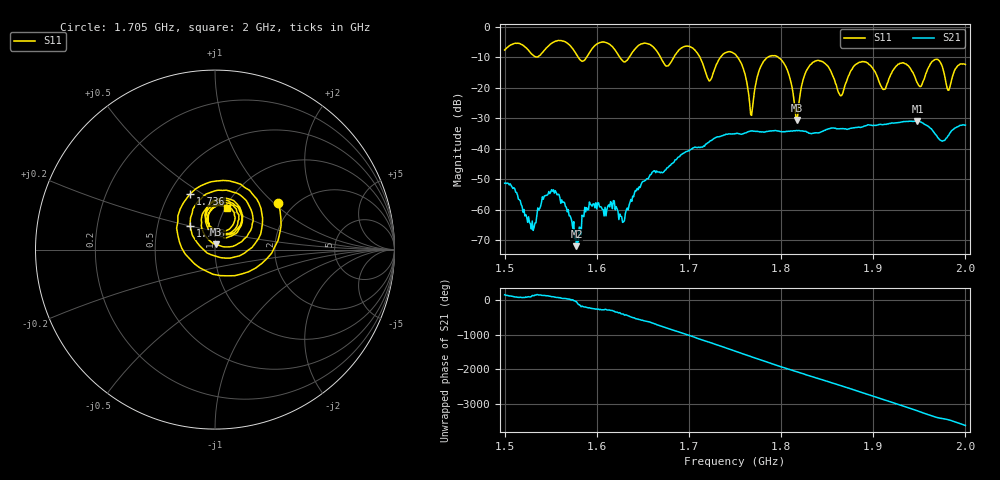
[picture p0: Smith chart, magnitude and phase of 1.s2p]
! NanoVNA-App by SYSJOINT et al v1.1.209 (+OD18)
! Date: 2026-01-21 14:49:19
! Start: 1,5GHz Stop: 2GHz Points: 501
! S-Parameter data: F S11 S21 S12 S22
# Hz S RI R 50
!  Frequency  S11_Real  S11_Imag  S21_Real  S21_Imag  S12_Real  S12_Imag  S22_Real  S22_Imag
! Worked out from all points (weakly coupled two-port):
!   501 points, 1.5 GHz to 2 GHz, reference 50 ohm
!   highest |S21| = -30.90 dB at 1.948 GHz (marker M1); lowest = -71.9 dB at 1.578 GHz (marker M2)
!   lowest |S11| = -30.6 dB at 1.817 GHz (marker M3), VSWR 1.06, Z = 50.5 + j2.93 ohm
!   |S11| at or under -10 dB: 1.712 GHz to 1.734 GHz (22.21 MHz wide, 1.29 % of centre); 1.753 GHz to 1.785 GHz (32.37 MHz wide, 1.83 % of centre); 1.797 GHz to end of sweep (the widest 3 of 6)
!   S12 and S22 are empty: the file has one direction only
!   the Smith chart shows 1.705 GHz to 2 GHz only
!   S11 on the Smith chart (normalised r, x): 1.705 GHz: 1.65, +1.06; 1.736 GHz: 0.64, +0.45; 1.776 GHz: 0.73, +0.20; 2 GHz: 1.02, +0.50
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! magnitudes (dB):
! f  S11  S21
! 1.5 GHz  -7.6  -51.2
! 1.53 GHz  -9.1  -63.6
! 1.557 GHz  -4.6  -55.0
! 1.578 GHz  -9.1  -71.9
! 1.584 GHz  -11.3  -61.7
! 1.607 GHz  -5.0  -59.9
! 1.629 GHz  -11.4  -63.9
! 1.667 GHz  -8.8  -47.6
! 1.705 GHz  -7.2  -39.6
! 1.722 GHz  -17.7  -37.7
! 1.736 GHz  -9.4  -35.7
! 1.75 GHz  -9.0  -35.0
! 1.768 GHz  -29.0  -34.1
! 1.776 GHz  -14.4  -34.3
! 1.8 GHz  -10.8  -34.3
! 1.817 GHz  -30.6  -34.0
! 1.834 GHz  -11.8  -34.9
! 1.865 GHz  -22.6  -33.4
! 1.886 GHz  -11.6  -33.0
! 1.917 GHz  -17.0  -31.7
! 1.948 GHz  -18.4  -30.9
! 2 GHz  -12.3  -32.2
